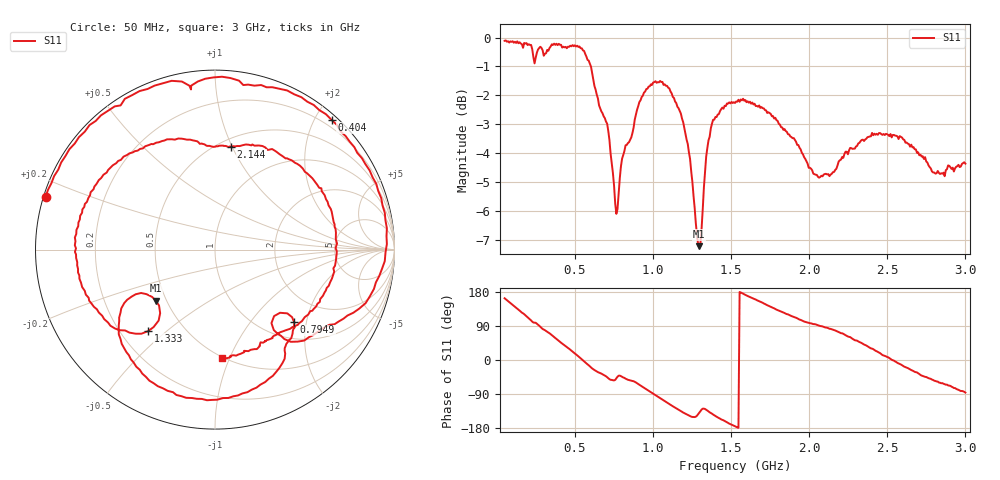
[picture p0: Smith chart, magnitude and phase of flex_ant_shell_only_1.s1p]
! nanovna_capture.py 2026-11-02T23:28:44+0900
! NanoVNA-F_V2 fw 0.6.0 SN 4A3639384505514B
! cal: load open short cal'ed  over 50000000-3000000000 Hz, 201 points
! points 401, avg 4
! Ledger Flex implant antenna in the plastic shell only (battery is not on the shell in the Flex; boards and battery away), same coax routing
# HZ S RI R 50
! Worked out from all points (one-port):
!   401 points, 50 MHz to 3 GHz, reference 50 ohm
!   lowest |S11| = -7.2 dB at 1.296 GHz (marker M1), VSWR 2.54, Z = 21.9 - j15.4 ohm
!   |S11| at or under -10 dB: nowhere
!   S11 on the Smith chart (normalised r, x): 50 MHz: 0.01, +0.15; 404 MHz: 0.09, +2.24; 794.9 MHz: 1.34, -1.70; 1.333 GHz: 0.31, -0.43; 2.144 GHz: 0.57, +0.99; 3 GHz: 0.49, -0.94
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5e7  -0.9435 0.2906
1.31125e8  -0.6989 0.6939
2.1225e8  -0.2934 0.9259
3.37625e8  0.3195 0.9046
4.04e8  0.6497 0.7227
4.1875e8  0.6995 0.6587
5.29375e8  0.9576 0.1188
6.17875e8  0.771 -0.3516
7.06375e8  0.4969 -0.5067
7.4325e8  0.3481 -0.468
7.875e8  0.4297 -0.3766
7.94875e8  0.441 -0.4054
8.98125e8  0.3587 -0.659
1.001375e9  0.0127 -0.8363
1.15625e9  -0.4798 -0.5884
1.23e9  -0.5265 -0.3514
1.296375e9  -0.3303 -0.2842
1.33325e9  -0.3721 -0.4539
1.414375e9  -0.6468 -0.3512
1.525e9  -0.7675 -0.0697
1.694625e9  -0.6718 0.3516
1.89375e9  -0.2817 0.6077
2.1445e9  0.0902 0.5743
2.2625e9  0.3183 0.5603
2.461625e9  0.6561 0.182
2.63125e9  0.6106 -0.2386
2.727125e9  0.4613 -0.4192
3e9  0.0418 -0.6038
